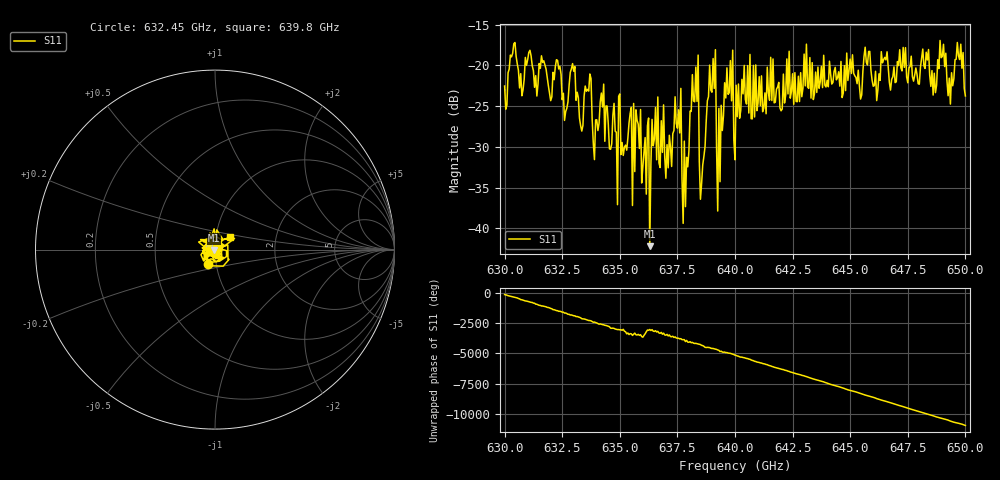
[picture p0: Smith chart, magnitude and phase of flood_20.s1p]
!Created with skrf (http://scikit-rf.org).
# GHz S RI R 50.0
!freq ReS11 ImS11
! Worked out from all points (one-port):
!   401 points, 630 GHz to 650 GHz, reference 50 ohm
!   lowest |S11| = -42.2 dB at 636.3 GHz (marker M1), VSWR 1.02, Z = 49.3 - j0.355 ohm
!   |S11| at or under -10 dB: start of sweep to end of sweep
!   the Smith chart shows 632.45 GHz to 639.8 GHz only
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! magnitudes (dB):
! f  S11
! 630 GHz  -22.5
! 630.35 GHz  -18.5
! 630.75 GHz  -23.7
! 631.1 GHz  -18.1
! 632.5 GHz  -24.2
! 632.95 GHz  -19.8
! 633.3 GHz  -27.4
! 633.65 GHz  -23.1
! 633.95 GHz  -26.7
! 634.2 GHz  -23.4
! 635 GHz  -23.5
! 636.3 GHz  -42.2
! 637.5 GHz  -27.7
! 637.8 GHz  -29.3
! 638.3 GHz  -20.2
! 638.55 GHz  -34.5
! 639.05 GHz  -19.2
! 639.3 GHz  -25.3
! 639.7 GHz  -23.5
! 640 GHz  -31.6
! 642.5 GHz  -21.0
! 645 GHz  -19.2
! 647.5 GHz  -22.1
! 648.65 GHz  -21.0
! 649 GHz  -18.9
! 649.35 GHz  -24.7
! 649.7 GHz  -18.8
! 650 GHz  -23.7
